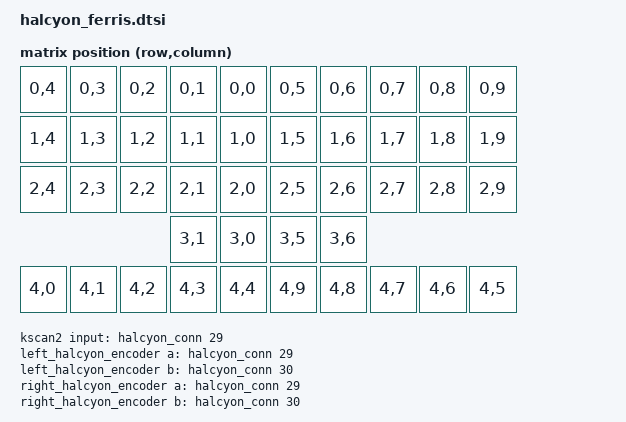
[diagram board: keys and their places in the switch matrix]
/*
 * Copyright (c) 2022 The ZMK Contributors
 * Copyright (c) 2026 Splitkb.com
 *
 * SPDX-License-Identifier: MIT
 */

#include <dt-bindings/zmk/matrix_transform.h>
#include "halcyon_ferris-layouts.dtsi"
#include "vik_connector.dtsi"

&splitkb_halcyon_ferris {
    transform = <&default_transform>;
};

/ {
    chosen {
        zmk,kscan = &kscan0;
        zmk,physical-layout = &splitkb_halcyon_ferris;
    };

    trackpad_listener: trackpad_listener {
        compatible = "zmk,input-listener";
        status = "disabled";
    };

    kscan0: kscan_composite {
        compatible = "zmk,kscan-composite";
        rows = <5>;
        columns = <10>;
        wakeup-source;

        matrix {
            kscan = <&kscan1>;
        };

        direct {
            kscan = <&kscan2>;
            row-offset = <4>;
        };
    };
    
    kscan2: kscan_direct {
        compatible = "zmk,kscan-gpio-direct";
        wakeup-source;

        input-gpios = <&halcyon_conn 29 (GPIO_ACTIVE_LOW | GPIO_PULL_UP)>; // Dummy pin
    };

    default_transform: keymap_transform_0 {
        compatible = "zmk,matrix-transform";
        columns = <10>;
        rows = <5>;
        map = <
        RC(0,4)  RC(0,3)  RC(0,2)  RC(0,1)  RC(0,0)  RC(0,5) RC(0,6) RC(0,7) RC(0,8) RC(0,9)
        RC(1,4)  RC(1,3)  RC(1,2)  RC(1,1)  RC(1,0)  RC(1,5) RC(1,6) RC(1,7) RC(1,8) RC(1,9)
        RC(2,4)  RC(2,3)  RC(2,2)  RC(2,1)  RC(2,0)  RC(2,5) RC(2,6) RC(2,7) RC(2,8) RC(2,9)
                                   RC(3,1)  RC(3,0)  RC(3,5) RC(3,6)
        RC(4,0)  RC(4,1)  RC(4,2)  RC(4,3)  RC(4,4)  RC(4,9) RC(4,8) RC(4,7) RC(4,6) RC(4,5)
        >;
    };

    left_halcyon_encoder: halcyon_encoder_left {
        compatible = "alps,ec11";
        a-gpios = <&halcyon_conn 29 (GPIO_ACTIVE_HIGH | GPIO_PULL_UP)>; // Dummy pin
        b-gpios = <&halcyon_conn 30 (GPIO_ACTIVE_HIGH | GPIO_PULL_UP)>; // Dummy pin
        steps = <80>;
        status = "disabled";
    };

    right_halcyon_encoder: halcyon_encoder_right {
        compatible = "alps,ec11";
        a-gpios = <&halcyon_conn 29 (GPIO_ACTIVE_HIGH | GPIO_PULL_UP)>; // Dummy pin
        b-gpios = <&halcyon_conn 30 (GPIO_ACTIVE_HIGH | GPIO_PULL_UP)>; // Dummy pin
        steps = <80>;
        status = "disabled";
    };

    sensors: sensors {
        compatible = "zmk,keymap-sensors";
        sensors = <&left_halcyon_encoder &right_halcyon_encoder>;
        triggers-per-rotation = <20>;
    };
};
